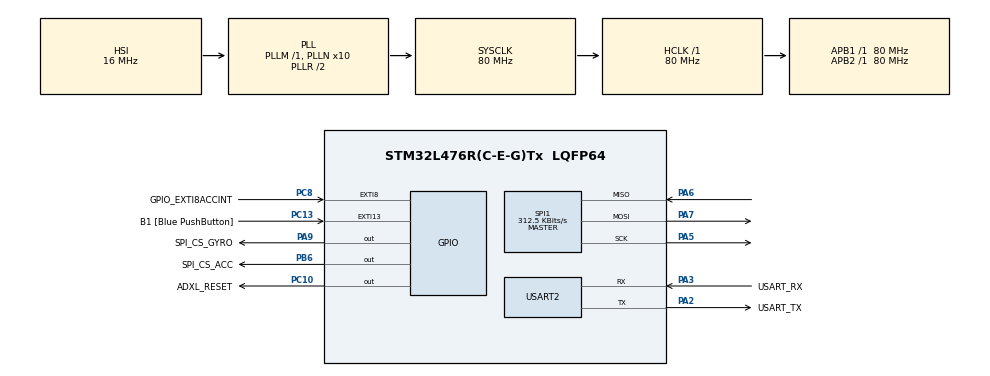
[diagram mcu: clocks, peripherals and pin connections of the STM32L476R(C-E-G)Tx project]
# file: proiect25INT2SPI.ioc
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Mcu.Family=STM32L4
Mcu.Name=STM32L476R(C-E-G)Tx
Mcu.Package=LQFP64
NVIC.EXTI9_5_IRQn=true\:2\:0\:true\:false\:true\:true\:true\:true
NVIC.PriorityGroup=NVIC_PRIORITYGROUP_4
NVIC.SPI1_IRQn=true\:2\:0\:true\:false\:true\:true\:true\:true
PA13\ (JTMS-SWDIO).GPIO_Label=TMS
PA13\ (JTMS-SWDIO).Mode=Serial_Wire
PA13\ (JTMS-SWDIO).Signal=SYS_JTMS-SWDIO
PA14\ (JTCK-SWCLK).GPIO_Label=TCK
PA14\ (JTCK-SWCLK).Mode=Serial_Wire
PA14\ (JTCK-SWCLK).Signal=SYS_JTCK-SWCLK
PA2.GPIO_Label=USART_TX
PA2.GPIO_Mode=GPIO_MODE_AF_PP
PA2.GPIO_PuPd=GPIO_NOPULL
PA2.GPIO_Speed=GPIO_SPEED_FREQ_VERY_HIGH
PA2.Mode=Asynchronous
PA2.Signal=USART2_TX
PA3.GPIO_Label=USART_RX
PA3.GPIO_Mode=GPIO_MODE_AF_PP
PA3.GPIO_PuPd=GPIO_NOPULL
PA3.GPIO_Speed=GPIO_SPEED_FREQ_VERY_HIGH
PA3.Mode=Asynchronous
PA3.Signal=USART2_RX
PA5.Mode=Full_Duplex_Master
PA5.Signal=SPI1_SCK
PA6.Mode=Full_Duplex_Master
PA6.Signal=SPI1_MISO
PA7.Mode=Full_Duplex_Master
PA7.Signal=SPI1_MOSI
PA9.GPIO_Label=SPI_CS_GYRO
PA9.Signal=GPIO_Output
PB3\ (JTDO-TRACESWO).GPIO_Label=SWO
PB3\ (JTDO-TRACESWO).Signal=SYS_JTDO-SWO
PB6.GPIO_Label=SPI_CS_ACC
PB6.GPIO_Speed=GPIO_SPEED_FREQ_HIGH
PB6.PinState=GPIO_PIN_SET
PB6.Signal=GPIO_Output
PC10.GPIO_Label=ADXL_RESET
PC10.Signal=GPIO_Output
PC13.GPIO_Label=B1 [Blue PushButton]
PC13.GPIO_ModeDefaultEXTI=GPIO_MODE_IT_FALLING
PC13.GPIO_PuPd=GPIO_NOPULL
PC13.Signal=GPXTI13
PC14-OSC32_IN\ (PC14).Mode=LSE-External-Oscillator
PC14-OSC32_IN\ (PC14).Signal=RCC_OSC32_IN
PC15-OSC32_OUT\ (PC15).Mode=LSE-External-Oscillator
PC15-OSC32_OUT\ (PC15).Signal=RCC_OSC32_OUT
PC8.GPIO_Label=GPIO_EXTI8ACCINT
PC8.GPIO_PuPd=GPIO_PULLDOWN
PC8.Signal=GPXTI8
PH0-OSC_IN\ (PH0).Signal=RCC_OSC_IN
PH1-OSC_OUT\ (PH1).Signal=RCC_OSC_OUT
ProjectManager.HeapSize=0x200
ProjectManager.StackSize=0x400
ProjectManager.TargetToolchain=STM32CubeIDE
RCC.ADCFreq_Value=64000000
RCC.AHBFreq_Value=80000000
RCC.APB1Freq_Value=80000000
RCC.APB1TimFreq_Value=80000000
RCC.APB2Freq_Value=80000000
RCC.APB2TimFreq_Value=80000000
RCC.CortexFreq_Value=80000000
RCC.HCLKFreq_Value=80000000
RCC.HSE_VALUE=8000000
RCC.HSI_VALUE=16000000
RCC.MSI_VALUE=4000000
RCC.PLLN=10
RCC.PLLSourceVirtual=RCC_PLLSOURCE_HSI
RCC.PREFETCH_ENABLE=1
RCC.SYSCLKFreq_VALUE=80000000
RCC.SYSCLKSource=RCC_SYSCLKSOURCE_PLLCLK
RCC.USBFreq_Value=64000000
RCC.VCOOutputFreq_Value=160000000
SPI1.BaudRatePrescaler=SPI_BAUDRATEPRESCALER_256
SPI1.CLKPhase=SPI_PHASE_2EDGE
SPI1.CLKPolarity=SPI_POLARITY_HIGH
SPI1.CalculateBaudRate=312.5 KBits/s
SPI1.DataSize=SPI_DATASIZE_8BIT
SPI1.Direction=SPI_DIRECTION_2LINES
SPI1.Mode=SPI_MODE_MASTER
SPI1.VirtualType=VM_MASTER
USART2.VirtualMode-Asynchronous=VM_ASYNC
board=NUCLEO-L476RG

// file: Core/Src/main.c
/* USER CODE BEGIN Header */
/**
  ******************************************************************************
  * @file           : main.c
  * @brief          : Main program body
  ******************************************************************************
  * @attention
  *
  * Copyright (c) 2022 STMicroelectronics.
  * All rights reserved.
  *
  * This software is licensed under terms that can be found in the LICENSE file
  * in the root directory of this software component.
  * If no LICENSE file comes with this software, it is provided AS-IS.
  *
  ******************************************************************************
  */
/* USER CODE END Header */
#include "main.h"
#include "spi.h"
#include "usart.h"
#include "gpio.h"

/* USER CODE BEGIN Includes */
#include <stdio.h>
#include "ADXL.h"
#include <string.h>
#include "GYRO.h"
/* USER CODE END Includes */

/* USER CODE BEGIN PV */
bool is_new_data_available = false;
bool is_new_ACC_datacomplete = false;
bool is_new_processing_ready = true;
/* USER CODE END PV */

void SystemClock_Config(void);

int main(void)
{
  /* USER CODE BEGIN 1 */
  // uint8_t buffTest[] = {0x8F, 0x00};

  /* USER CODE END 1 */

  /* MCU Configuration--------------------------------------------------------*/

  /* Reset of all peripherals, Initializes the Flash interface and the Systick. */
  HAL_Init();

  /* Configure the system clock */
  SystemClock_Config();

  /* Initialize all configured peripherals */
  MX_GPIO_Init();
  MX_USART2_UART_Init();
  MX_SPI1_Init();
  /* USER CODE BEGIN 2 */
    ADXL_Init();
    int16_t x,y,z;

	GYRO_PowerMode();
	ADXL_ReadValuesXYZ(&x, &y, &z);
	//HAL_GPIO_EXTI_Callback(GPIO_EXTI8ACCINT_Pin);

  /* USER CODE END 2 */

  /* Infinite loop */
  /* USER CODE BEGIN WHILE */

  while (1)
  {
	// Check for new_data
	  if (is_new_data_available) {
	      ADXL_IT_StartSPI();
	      is_new_processing_ready = false;
	      is_new_data_available = false;
	  }

	  if(is_new_ACC_datacomplete)
	  {

		  is_new_ACC_datacomplete = false;
		  ADXL_IT_StopSPI();
		  ADXL_IT_GetValuesXYZ(&x, &y, &z);
		  ADXL_ConvertXYZValuesG(&x, &y, &z);
		  USART_TransmitACCValues(&x, &y, &z);
		  is_new_processing_ready = true;

	  }
	// send x, y, z to uart

    /* USER CODE END WHILE */

   }
}

void SystemClock_Config(void)
{
  RCC_OscInitTypeDef RCC_OscInitStruct = {0};
  RCC_ClkInitTypeDef RCC_ClkInitStruct = {0};

  /** Configure the main internal regulator output voltage
  */
  if (HAL_PWREx_ControlVoltageScaling(PWR_REGULATOR_VOLTAGE_SCALE1) != HAL_OK)
  {
    Error_Handler();
  }

  /** Initializes the RCC Oscillators according to the specified parameters
  * in the RCC_OscInitTypeDef structure.
  */
  RCC_OscInitStruct.OscillatorType = RCC_OSCILLATORTYPE_HSI;
  RCC_OscInitStruct.HSIState = RCC_HSI_ON;
  RCC_OscInitStruct.HSICalibrationValue = RCC_HSICALIBRATION_DEFAULT;
  RCC_OscInitStruct.PLL.PLLState = RCC_PLL_ON;
  RCC_OscInitStruct.PLL.PLLSource = RCC_PLLSOURCE_HSI;
  RCC_OscInitStruct.PLL.PLLM = 1;
  RCC_OscInitStruct.PLL.PLLN = 10;
  RCC_OscInitStruct.PLL.PLLP = RCC_PLLP_DIV7;
  RCC_OscInitStruct.PLL.PLLQ = RCC_PLLQ_DIV2;
  RCC_OscInitStruct.PLL.PLLR = RCC_PLLR_DIV2;
  if (HAL_RCC_OscConfig(&RCC_OscInitStruct) != HAL_OK)
  {
    Error_Handler();
  }

  /** Initializes the CPU, AHB and APB buses clocks
  */
  RCC_ClkInitStruct.ClockType = RCC_CLOCKTYPE_HCLK|RCC_CLOCKTYPE_SYSCLK
                              |RCC_CLOCKTYPE_PCLK1|RCC_CLOCKTYPE_PCLK2;
  RCC_ClkInitStruct.SYSCLKSource = RCC_SYSCLKSOURCE_PLLCLK;
  RCC_ClkInitStruct.AHBCLKDivider = RCC_SYSCLK_DIV1;
  RCC_ClkInitStruct.APB1CLKDivider = RCC_HCLK_DIV1;
  RCC_ClkInitStruct.APB2CLKDivider = RCC_HCLK_DIV1;

  if (HAL_RCC_ClockConfig(&RCC_ClkInitStruct, FLASH_LATENCY_4) != HAL_OK)
  {
    Error_Handler();
  }
}

void Error_Handler(void)
{
  __disable_irq();
  while (1)
  {
  }
}
